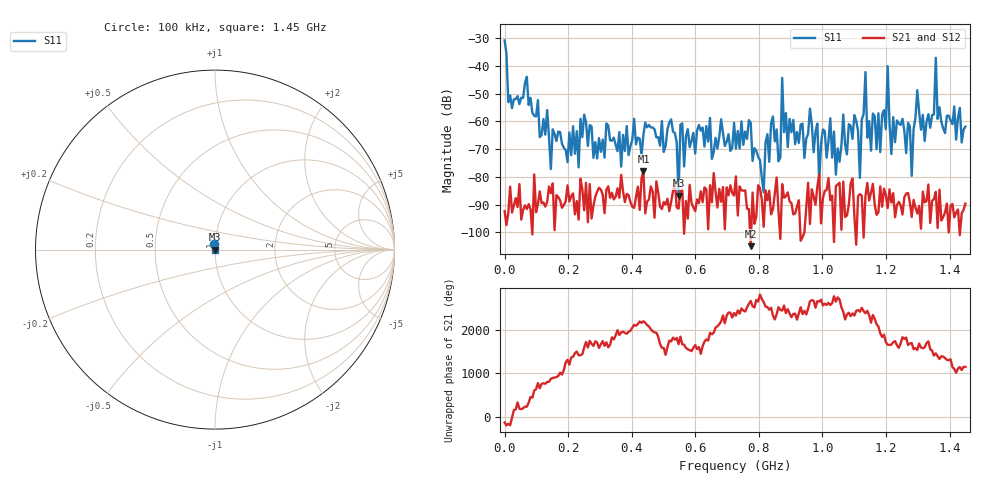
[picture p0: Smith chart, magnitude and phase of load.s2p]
! Created with skrf 1.11.0 (http://scikit-rf.org).
# Hz S RI R 50.0
!freq ReS11 ImS11 ReS21 ImS21 ReS12 ImS12 ReS22 ImS22
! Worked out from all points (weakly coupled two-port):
!   250 points, 100 kHz to 1.45 GHz, reference 50 ohm
!   highest |S21| = -77.93 dB at 436.8 MHz (marker M1); lowest = -104.9 dB at 774.5 MHz (marker M2)
!   lowest |S11| = -86.8 dB at 547.5 MHz (marker M3), VSWR 1.00, Z = 50 + j0.0037 ohm
!   |S11| at or under -10 dB: start of sweep to end of sweep
!   |S22| runs from - to - dB; largest |S21 - S12| = 0
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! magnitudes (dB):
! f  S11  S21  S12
! 100 kHz  -30.8  -92.3  -92.3
! 145.7 MHz  -77.1  -85.8  -85.8
! 244.7 MHz  -65.7  -84.4  -84.4
! 436.8 MHz  -64.9  -77.9  -77.9
! 483.4 MHz  -65.7  -85.5  -85.5
! 547.5 MHz  -86.8  -91.4  -91.4
! 728 MHz  -69.7  -79.8  -79.8
! 774.5 MHz  -60.4  -104.9  -104.9
! 966.7 MHz  -60.9  -84.4  -84.4
! 1.101 GHz  -57.7  -94.0  -94.0
! 1.118 GHz  -80.3  -86.2  -86.2
! 1.136 GHz  -42.2  -86.9  -86.9
! 1.141 GHz  -65.9  -82.2  -82.2
! 1.182 GHz  -71.0  -83.4  -83.4
! 1.205 GHz  -40.0  -91.2  -91.2
! 1.211 GHz  -60.8  -84.4  -84.4
! 1.281 GHz  -79.6  -94.4  -94.4
! 1.299 GHz  -48.7  -93.2  -93.2
! 1.322 GHz  -67.0  -89.1  -89.1
! 1.357 GHz  -37.0  -85.4  -85.4
! 1.363 GHz  -59.1  -98.4  -98.4
! 1.45 GHz  -61.8  -89.6  -89.6
